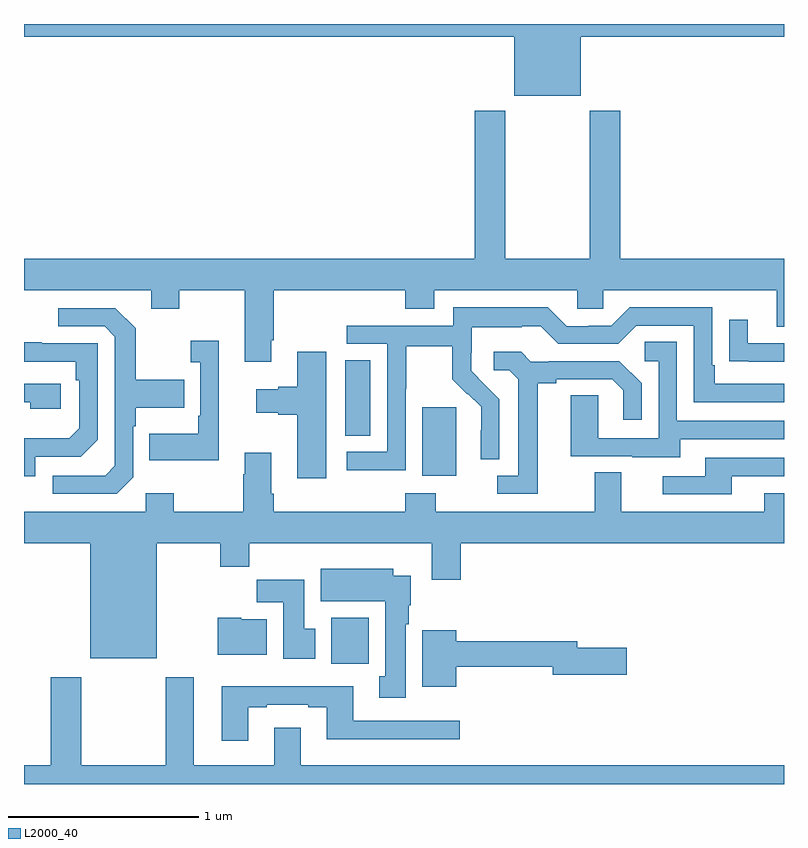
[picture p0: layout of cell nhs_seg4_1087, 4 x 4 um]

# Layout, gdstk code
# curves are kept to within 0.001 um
import gdstk
lib = gdstk.Library(unit=1e-6, precision=1e-09)
def R(c, l, rs):  # rectangles x0, y0, x1, y1
    for r in rs: c.add(gdstk.rectangle(r[:2], r[2:], *l))
def P(c, l, *ps):  # polygons
    for p in ps: c.add(gdstk.Polygon(p, *l))
L2000_40 = (2000, 40)

nhs_seg4_1087 = lib.new_cell('nhs_seg4_1087')
R(nhs_seg4_1087, L2000_40, [(168.617,781.532,168.814,781.774), (169.097,782.522,169.276,782.883), (168.692,782.734,168.823,783.131)])
P(nhs_seg4_1087, L2000_40, [(169.93,784.832),(171,784.832),(171,784.9),(167,784.9),(167,784.832),(169.58,784.832),(169.58,784.523),(169.93,784.523)],
  [(168.301,783.235),(168.314,783.235),(168.314,783.5),(169.007,783.5),(169.007,783.401),(169.159,783.401),(169.159,783.5),(169.911,783.5),(169.911,783.402),(170.049,783.402),(170.049,783.5),(170.963,783.5),(170.963,783.306),(171,783.306),(171,783.664),(170.138,783.664),(170.138,784.444),(169.978,784.444),(169.978,783.664),(169.533,783.664),(169.533,784.444),(169.373,784.444),(169.373,783.664),(167,783.664),(167,783.5),(167.669,783.5),(167.669,783.401),(167.817,783.401),(167.817,783.5),(168.161,783.5),(168.161,783.123),(168.301,783.123)],
  [(169.008,782.98),(169.011,782.98),(169.011,783.204),(169.255,783.204),(169.255,783.029),(169.332,782.952),(169.335,782.955),(169.406,782.885),(169.406,782.762),(169.404,782.762),(169.404,782.608),(169.5,782.608),(169.5,782.926),(169.354,783.074),(169.354,783.171),(169.356,783.171),(169.356,783.305),(169.619,783.305),(169.619,783.309),(169.719,783.309),(169.812,783.216),(170.127,783.216),(170.223,783.312),(170.526,783.312),(170.526,782.91),(171,782.91),(171,783.006),(170.635,783.006),(170.635,783.103),(170.622,783.103),(170.622,783.408),(170.187,783.408),(170.091,783.312),(169.973,783.312),(169.973,783.309),(169.857,783.309),(169.757,783.409),(169.26,783.409),(169.26,783.312),(168.699,783.312),(168.699,783.216),(168.912,783.216),(168.912,782.649),(168.699,782.649),(168.699,782.551),(169.008,782.551)],
  [(167.574,782.514),(167.574,782.783),(167.587,782.783),(167.587,782.879),(167.843,782.879),(167.843,783.027),(167.587,783.027),(167.587,783.299),(167.481,783.405),(167.181,783.405),(167.181,783.309),(167.424,783.309),(167.478,783.255),(167.478,782.574),(167.427,782.523),(167.151,782.523),(167.151,782.427),(167.487,782.427)],
  [(171,783.219),(170.809,783.219),(170.809,783.343),(170.713,783.343),(170.713,783.124),(170.815,783.124),(170.815,783.123),(171,783.123)],
  [(168.026,783.232),(167.877,783.232),(167.877,783.119),(167.928,783.119),(167.928,782.839),(167.916,782.839),(167.916,782.743),(167.659,782.743),(167.659,782.603),(168.026,782.603)],
  [(170.455,782.715),(171,782.715),(171,782.811),(170.436,782.811),(170.436,783.227),(170.268,783.227),(170.268,783.126),(170.34,783.126),(170.34,782.721),(170.022,782.721),(170.022,782.945),(169.877,782.945),(169.877,782.625),(170.201,782.625),(170.201,782.621),(170.455,782.621)],
  [(167.058,782.622),(167.298,782.622),(167.388,782.712),(167.388,783.219),(167.093,783.219),(167.093,783.224),(167,783.224),(167,783.123),(167.272,783.123),(167.272,783.026),(167.292,783.026),(167.292,782.772),(167.239,782.719),(167,782.719),(167,782.52),(167.058,782.52)],
  [(169.705,783.008),(169.801,783.008),(169.801,783.03),(170.096,783.03),(170.153,782.973),(170.153,782.817),(170.25,782.817),(170.25,783.01),(170.134,783.126),(169.762,783.126),(169.762,783.123),(169.668,783.123),(169.616,783.175),(169.473,783.175),(169.473,783.078),(169.554,783.078),(169.601,783.031),(169.601,782.523),(169.491,782.523),(169.491,782.427),(169.705,782.427)],
  [(168.592,783.175),(168.437,783.175),(168.437,782.99),(168.338,782.99),(168.338,782.977),(168.222,782.977),(168.222,782.855),(168.338,782.855),(168.338,782.843),(168.437,782.843),(168.437,782.508),(168.592,782.508)],
  [(167.194,783.006),(167,783.006),(167,782.91),(167.033,782.91),(167.033,782.876),(167.194,782.876)],
  [(167.698,782.168),(168.034,782.168),(168.034,782.044),(168.185,782.044),(168.185,782.168),(169.145,782.168),(169.145,781.974),(169.298,781.974),(169.298,782.168),(171,782.168),(171,782.431),(170.897,782.431),(170.897,782.332),(170.143,782.332),(170.143,782.54),(170.003,782.54),(170.003,782.332),(169.167,782.332),(169.167,782.431),(169.007,782.431),(169.007,782.332),(168.314,782.332),(168.314,782.428),(168.301,782.428),(168.301,782.644),(168.161,782.644),(168.161,782.531),(168.154,782.531),(168.154,782.332),(167.787,782.332),(167.787,782.431),(167.64,782.431),(167.64,782.332),(167,782.332),(167,782.168),(167.348,782.168),(167.348,781.562),(167.698,781.562)],
  [(170.725,782.52),(171,782.52),(171,782.616),(170.585,782.616),(170.585,782.52),(170.361,782.52),(170.361,782.424),(170.725,782.424)],
  [(169.009,781.742),(169.024,781.742),(169.024,781.842),(169.036,781.842),(169.036,781.996),(168.943,781.996),(168.943,782.032),(168.563,782.032),(168.563,781.862),(168.902,781.862),(168.902,781.466),(168.869,781.466),(168.869,781.353),(169.009,781.353)],
  [(168.532,781.716),(168.475,781.716),(168.475,781.974),(168.226,781.974),(168.226,781.856),(168.365,781.856),(168.365,781.56),(168.532,781.56)],
  [(168.277,781.768),(168.144,781.768),(168.144,781.774),(168.019,781.774),(168.019,781.58),(168.277,781.58)],
  [(169.276,781.516),(169.784,781.516),(169.784,781.474),(170.173,781.474),(170.173,781.616),(169.912,781.616),(169.912,781.652),(169.276,781.652),(169.276,781.708),(169.097,781.708),(169.097,781.412),(169.276,781.412)],
  [(171,781),(168.457,781),(168.457,781.195),(168.317,781.195),(168.317,781),(167.893,781),(167.893,781.462),(167.746,781.462),(167.746,781),(167.301,781),(167.301,781.462),(167.141,781.462),(167.141,781),(167,781),(167,780.9),(171,780.9)],
  [(168.181,781.305),(168.277,781.305),(168.277,781.317),(168.497,781.317),(168.497,781.305),(168.593,781.305),(168.593,781.136),(169.294,781.136),(169.294,781.233),(168.733,781.233),(168.733,781.414),(168.041,781.414),(168.041,781.128),(168.181,781.128)])

lib.write_gds('nhs_seg4_1087.gds')
